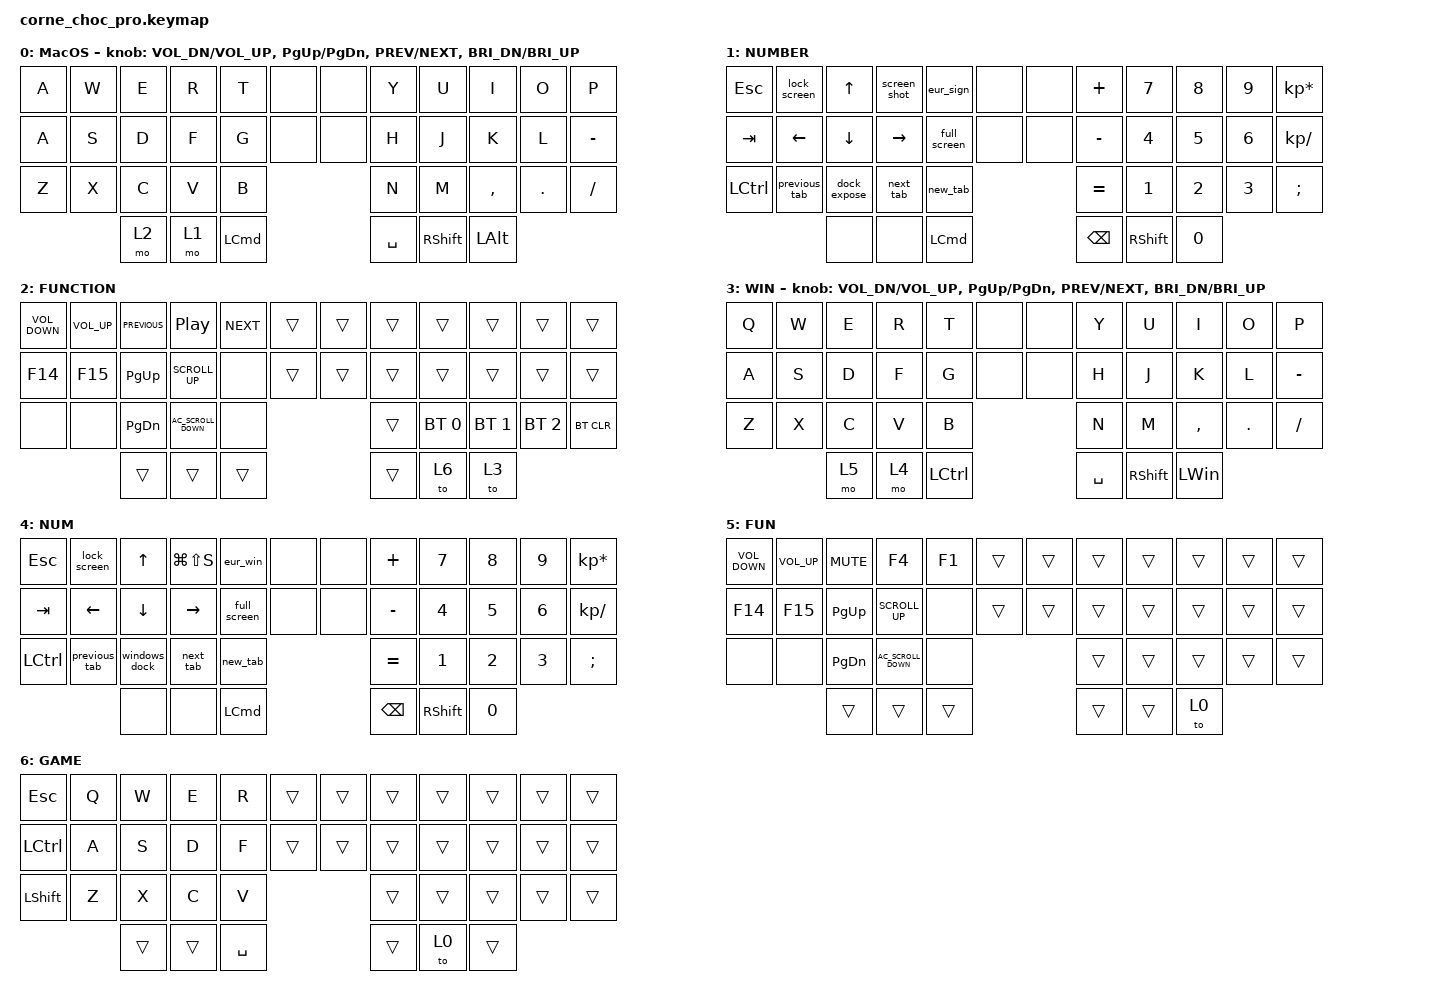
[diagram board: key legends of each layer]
/*
 * Copyright (c) 2020 The ZMK Contributors
 *
 * SPDX-License-Identifier: MIT
 */

#include <behaviors.dtsi>
#include <dt-bindings/zmk/bt.h>
#include <dt-bindings/zmk/keys.h>

/ {
    chosen { zmk,physical-layout = &five_col_layout; };
};

/ {
    behaviors {
        coma_semicolon: coma_semicolon {
            compatible = "zmk,behavior-tap-dance";
            label = "COMA_SEMICOLON";
            #binding-cells = <0>;
            bindings = <&kp COMMA>, <&kp SEMICOLON>;
        };

        period_colon: period_colon {
            compatible = "zmk,behavior-tap-dance";
            label = "PERIOD_COLON";
            #binding-cells = <0>;
            bindings = <&kp PERIOD>, <&kp COLON>;
        };

        question_exclamation: question_exclamation {
            compatible = "zmk,behavior-tap-dance";
            label = "QUESTION_EXCLAMATION";
            #binding-cells = <0>;
            bindings = <&kp QUESTION>, <&kp EXCLAMATION>;
        };

        HRL: HRL {
            compatible = "zmk,behavior-hold-tap";
            label = "HRL";
            bindings = <&kp>, <&kp>;

            #binding-cells = <2>;
            tapping-term-ms = <180>;
            flavor = "tap-preferred";
        };

        HRR: HRR {
            compatible = "zmk,behavior-hold-tap";
            label = "HRR";
            bindings = <&kp>, <&kp>;

            #binding-cells = <2>;
            tapping-term-ms = <300>;
            flavor = "tap-preferred";
        };
    };

    combos {
        compatible = "zmk,combos";

        enter_right {
            bindings = <&kp ENTER>;
            key-positions = <20 21>;
        };

        enter_left {
            bindings = <&kp ENTER>;
            key-positions = <15 14>;
        };

        apostrophe {
            bindings = <&kp APOSTROPHE>;
            key-positions = <31 30>;
        };

        quotation_mark {
            bindings = <&kp DOUBLE_QUOTES>;
            key-positions = <31 32>;
        };

        colon {
            bindings = <&kp COLON>;
            key-positions = <32 33>;
        };

        delete_right {
            bindings = <&kp DELETE>;
            key-positions = <22 23>;
        };

        backspace_right {
            bindings = <&kp BACKSPACE>;
            key-positions = <22 21>;
        };

        delete_Gutenberg {
            bindings = <&delete_Gutenberg>;
            key-positions = <12 13>;
        };

        backspace_left {
            bindings = <&kp BACKSPACE>;
            key-positions = <13 14>;
        };

        right_parenthesis {
            bindings = <&kp RIGHT_PARENTHESIS>;
            key-positions = <19 20>;
        };

        left_parenthesis {
            bindings = <&kp LEFT_PARENTHESIS>;
            key-positions = <16 15>;
        };

        new_line_left {
            bindings = <&new_line>;
            key-positions = <15 14 13>;
        };

        new_line_right {
            bindings = <&new_line>;
            key-positions = <20 21 22>;
        };

        select_word_left {
            bindings = <&select_left_word>;
            key-positions = <12 13 14>;
        };

        select_right_word {
            bindings = <&select_right_word>;
            key-positions = <21 22 23>;
        };

        left_space_V1 {
            bindings = <&kp SPACE>;
            key-positions = <14 35>;
        };

        left_space_V2 {
            bindings = <&kp SPACE>;
            key-positions = <15 36>;
        };

        copy {
            bindings = <&kp LG(C)>;
            key-positions = <25 26>;
        };

        paste {
            bindings = <&kp LG(V)>;
            key-positions = <26 27>;
        };

        redo {
            bindings = <&kp LG(Z)>;
            key-positions = <24 25>;
        };
    };

    macros {
        lock_screen: lock_screen {
            compatible = "zmk,behavior-macro";
            #binding-cells = <0>;
            bindings = <&kp LG(LC(Q))>;
            label = "LOCK_SCREEN";
        };

        screen_shot: screen_shot {
            compatible = "zmk,behavior-macro";
            #binding-cells = <0>;
            bindings = <&kp LG(LS(NUMBER_4))>;
            label = "SCREEN_SHOT";
        };

        full_screen: full_screen {
            compatible = "zmk,behavior-macro";
            #binding-cells = <0>;
            bindings = <&kp LG(LC(F))>;
            label = "FULL_SCREEN";
        };

        eur_sign: eur_sign {
            compatible = "zmk,behavior-macro";
            #binding-cells = <0>;
            bindings = <&kp LS(LA(NUMBER_2))>;
            label = "EUR_SIGN";
        };

        next_tab: next_tab {
            compatible = "zmk,behavior-macro";
            #binding-cells = <0>;
            bindings = <&kp LC(TAB)>;
            label = "NEXT_TAB";
        };

        previous_tab: previous_tab {
            compatible = "zmk,behavior-macro";
            #binding-cells = <0>;
            bindings = <&kp LC(LS(TAB))>;
            label = "PREVIOUS_TAB";
        };

        new_tab: new_tab {
            compatible = "zmk,behavior-macro";
            #binding-cells = <0>;
            bindings = <&kp LG(T)>;
            label = "NEW_TAB";
        };

        dock_expose: dock_expose {
            compatible = "zmk,behavior-macro";
            #binding-cells = <0>;
            bindings = <&kp LC(F3)>;
            label = "DOCK_EXPOSE";
        };

        new_line: new_line {
            compatible = "zmk,behavior-macro";
            #binding-cells = <0>;
            bindings = <&kp LS(ENTER)>;
            label = "NEW_LINE";
        };

        select_left_word: move_left_by_word {
            compatible = "zmk,behavior-macro";
            #binding-cells = <0>;
            bindings = <&kp LS(LA(LEFT_ARROW))>;
            label = "MOVE_LEFT_BY_WORD";
        };

        select_right_word: select_right_word {
            compatible = "zmk,behavior-macro";
            #binding-cells = <0>;
            bindings = <&kp LS(LA(RIGHT))>;
            label = "SELECT_RIGHT_WORD";
        };

        delete_Gutenberg: delete_Gutenberg {
            compatible = "zmk,behavior-macro";
            #binding-cells = <0>;
            bindings = <&kp LC(LA(Z))>;
            label = "DELETE_GUTENBERG";
        };

        windows_dock: windows_dock {
            compatible = "zmk,behavior-macro";
            #binding-cells = <0>;
            bindings = <&kp RA(TAB)>;
            label = "WINDOWS_DOCK";
        };

        eur_win: eur_win {
            compatible = "zmk,behavior-macro";
            #binding-cells = <0>;
            bindings =
                <&macro_press>,
                <&kp LEFT_ALT>,
                <&macro_tap>,
                <&kp KP_NUMBER_0 &kp KP_NUMBER_1 &kp KP_NUMBER_2 &kp KP_NUMBER_8>,
                <&macro_release>,
                <&kp LEFT_ALT>;

            label = "EUR_WIN";
        };
    };

    keymap {
        compatible = "zmk,keymap";

        base_layer {
            display-name = "MacOS";

            // ------------------------------------------------------------------------------
            // |  Q  |  W  |  E  |  R  |  T  |  MUTE |  PP   |  Y  |  U   |  I  |  O  |  P  |
            // |  A  |  S  |  D  |  F  |  G  |  LALT |  RALT |  H  |  J   |  K  |  L  |  ;  |
            // |  Z  |  X  |  C  |  V  |  B  |               |  N  |  M   |  ,  |  .  |  /  |
            //                    | GUI | LWR | SPC |               | ENT | RSE  | ALT |

            bindings = <
  &kp A  &kp W  &kp E  &kp R  &kp T             &none  &none  &kp Y      &kp U            &kp I         &kp O       &kp P
  &kp A  &kp S  &kp D  &kp F  &kp G             &none  &none  &kp H      &kp J            &kp K         &kp L       &kp MINUS
  &kp Z  &kp X  &kp C  &kp V  &kp B                           &kp N      &kp M            &kp COMMA     &kp PERIOD  &kp SLASH
                &mo 2  &mo 1  &kp LEFT_COMMAND                &kp SPACE  &kp RIGHT_SHIFT  &kp LEFT_ALT
            >;

            sensor-bindings = <&inc_dec_kp C_VOL_DN C_VOL_UP &inc_dec_kp PG_UP PG_DN &inc_dec_kp C_PREV C_NEXT &inc_dec_kp C_BRI_DN C_BRI_UP>;
        };

        layer_1 {
            display-name = "NUMBER";

            // --------------------------------------------------------------------------------
            // |  1  |  2  |  3  |  4  |  5    |  LCTRL | RCTRL |  6  |  7  |  8  |  9  |  0  |
            // | BT1 | BT2 | BT3 | BT4 | BT5   |  LALT  | RALT  | LFT | DWN |  UP | RGT |     |
            // | BTCR| RGB | RST | BOOT| Unlock|        |       |     |     |     |     |     |
            //                    | GUI |     | SPC   |        | ENT   |     | ALT |

            bindings = <
  &kp ESCAPE  &lock_screen    &kp UP_ARROW    &screen_shot  &eur_sign         &none  &none  &kp PLUS       &kp N7           &kp N8        &kp N9        &kp KP_MULTIPLY
  &kp TAB     &kp LEFT_ARROW  &kp DOWN_ARROW  &kp RIGHT     &full_screen      &none  &none  &kp MINUS      &kp NUMBER_4     &kp N5        &kp NUMBER_6  &kp KP_DIVIDE
  &kp LCTRL   &previous_tab   &dock_expose    &next_tab     &new_tab                        &kp EQUAL      &kp NUMBER_1     &kp NUMBER_2  &kp NUMBER_3  &kp SEMICOLON
                              &none           &none         &kp LEFT_COMMAND                &kp BACKSPACE  &kp RIGHT_SHIFT  &kp NUMBER_0
            >;
        };

        layer_2 {
            bindings = <
  &kp C_VOLUME_DOWN  &kp C_VOL_UP  &kp C_PREVIOUS  &kp C_PLAY_PAUSE      &kp C_NEXT  &trans  &trans  &trans  &trans        &trans        &trans        &trans
  &kp F14            &kp F15       &kp PAGE_UP     &kp K_SCROLL_UP       &none       &trans  &trans  &trans  &trans        &trans        &trans        &trans
  &none              &none         &kp PAGE_DOWN   &kp C_AC_SCROLL_DOWN  &none                       &trans  &bt BT_SEL 0  &bt BT_SEL 1  &bt BT_SEL 2  &bt BT_CLR
                                   &trans          &trans                &trans                      &trans  &to 6         &to 3
            >;

            label = "FUNCTION";
        };

        layer_3 {
            display-name = "WIN";
            bindings = <
  &kp Q  &kp W  &kp E  &kp R  &kp T             &none  &none  &kp Y      &kp U            &kp I         &kp O       &kp P
  &kp A  &kp S  &kp D  &kp F  &kp G             &none  &none  &kp H      &kp J            &kp K         &kp L       &kp MINUS
  &kp Z  &kp X  &kp C  &kp V  &kp B                           &kp N      &kp M            &kp COMMA     &kp PERIOD  &kp SLASH
                &mo 5  &mo 4  &kp LEFT_CONTROL                &kp SPACE  &kp RIGHT_SHIFT  &kp LEFT_WIN
            >;

            sensor-bindings =
                <&inc_dec_kp C_VOL_DN C_VOL_UP>,
                <&inc_dec_kp PG_UP PG_DN>,
                <&inc_dec_kp C_PREV C_NEXT>,
                <&inc_dec_kp C_BRI_DN C_BRI_UP>;
        };

        layer_4 {
            display-name = "NUM";
            bindings = <
  &kp ESCAPE  &lock_screen    &kp UP_ARROW    &kp LG(LS(S))  &eur_win          &none  &none  &kp PLUS       &kp N7           &kp N8        &kp N9        &kp KP_MULTIPLY
  &kp TAB     &kp LEFT_ARROW  &kp DOWN_ARROW  &kp RIGHT      &full_screen      &none  &none  &kp MINUS      &kp NUMBER_4     &kp N5        &kp NUMBER_6  &kp KP_DIVIDE
  &kp LCTRL   &previous_tab   &windows_dock   &next_tab      &new_tab                        &kp EQUAL      &kp NUMBER_1     &kp NUMBER_2  &kp NUMBER_3  &kp SEMICOLON
                              &none           &none          &kp LEFT_COMMAND                &kp BACKSPACE  &kp RIGHT_SHIFT  &kp NUMBER_0
            >;
        };

        layer_5 {
            label = "FUN";
            bindings = <
  &kp C_VOLUME_DOWN  &kp C_VOL_UP  &kp K_MUTE     &kp F4                &kp F1  &trans  &trans  &trans  &trans  &trans  &trans  &trans
  &kp F14            &kp F15       &kp PAGE_UP    &kp K_SCROLL_UP       &none   &trans  &trans  &trans  &trans  &trans  &trans  &trans
  &none              &none         &kp PAGE_DOWN  &kp C_AC_SCROLL_DOWN  &none                   &trans  &trans  &trans  &trans  &trans
                                   &trans         &trans                &trans                  &trans  &trans  &to 0
            >;
        };

        layer_6 {
            bindings = <
  &kp ESCAPE      &kp Q  &kp W   &kp E   &kp R      &trans  &trans  &trans  &trans  &trans  &trans  &trans
  &kp LCTRL       &kp A  &kp S   &kp D   &kp F      &trans  &trans  &trans  &trans  &trans  &trans  &trans
  &kp LEFT_SHIFT  &kp Z  &kp X   &kp C   &kp V                      &trans  &trans  &trans  &trans  &trans
                         &trans  &trans  &kp SPACE                  &trans  &to 0   &trans
            >;

            label = "GAME";
        };
    };
};
